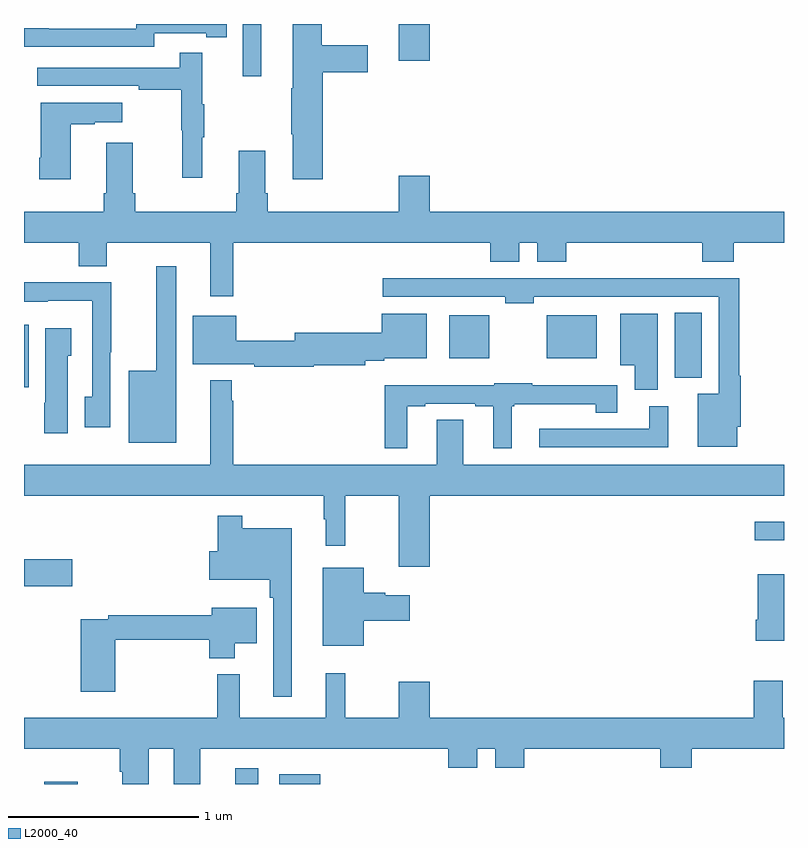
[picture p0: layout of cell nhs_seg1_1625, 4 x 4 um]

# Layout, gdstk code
import gdstk
lib = gdstk.Library(unit=1e-6, precision=1e-09)
def R(c, l, rs):  # rectangles x0, y0, x1, y1
    for r in rs: c.add(gdstk.rectangle(r[:2], r[2:], *l))
def P(c, l, *ps):  # polygons
    for p in ps: c.add(gdstk.Polygon(p, *l))
L2000_40 = (2000, 40)

nhs_seg1_1625 = lib.new_cell('nhs_seg1_1625')
R(nhs_seg1_1625, L2000_40, [(199.106,566.199,199.282,566.212), (200.111,566.199,200.233,566.281), (200.343,566.199,200.56,566.251), (199,567.239,199.255,567.381), (202.845,567.483,203,567.58), (199,568.287,199.024,568.615), (202.424,568.337,202.567,568.679), (201.239,568.439,201.448,568.666), (201.752,568.439,202.015,568.666), (200.151,569.925,200.248,570.199), (200.972,570.006,201.136,570.199)])
P(nhs_seg1_1625, L2000_40, [(200.573,569.945),(200.809,569.945),(200.809,570.087),(200.568,570.087),(200.568,570.199),(200.414,570.199),(200.414,569.861),(200.407,569.861),(200.407,569.62),(200.414,569.62),(200.414,569.382),(200.573,569.382)],
  [(199.686,570.15),(199.958,570.15),(199.958,570.13),(200.066,570.13),(200.066,570.199),(199.59,570.199),(199.59,570.174),(199.13,570.174),(199.13,570.176),(199,570.176),(199,570.078),(199.686,570.078)],
  [(199.937,569.603),(199.948,569.603),(199.948,569.777),(199.937,569.777),(199.937,570.049),(199.819,570.049),(199.819,569.97),(199.071,569.97),(199.071,569.874),(199.603,569.874),(199.603,569.854),(199.827,569.854),(199.827,569.64),(199.834,569.64),(199.834,569.391),(199.937,569.391)],
  [(199.246,569.671),(199.373,569.671),(199.373,569.681),(199.516,569.681),(199.516,569.785),(199.088,569.785),(199.088,569.494),(199.081,569.494),(199.081,569.382),(199.246,569.382)],
  [(200.101,569.048),(201.455,569.048),(201.455,568.949),(201.607,568.949),(201.607,569.048),(201.701,569.048),(201.701,568.949),(201.854,568.949),(201.854,569.048),(202.571,569.048),(202.571,568.949),(202.736,568.949),(202.736,569.048),(203,569.048),(203,569.212),(201.136,569.212),(201.136,569.401),(200.972,569.401),(200.972,569.212),(200.282,569.212),(200.282,569.308),(200.269,569.308),(200.269,569.533),(200.129,569.533),(200.129,569.308),(200.117,569.308),(200.117,569.212),(199.586,569.212),(199.586,569.308),(199.573,569.308),(199.573,569.575),(199.433,569.575),(199.433,569.308),(199.421,569.308),(199.421,569.212),(199,569.212),(199,569.048),(199.288,569.048),(199.288,568.924),(199.435,568.924),(199.435,569.048),(199.979,569.048),(199.979,568.767),(200.101,568.767)],
  [(199.801,568.924),(199.697,568.924),(199.697,568.375),(199.55,568.375),(199.55,567.995),(199.801,567.995)],
  [(202.753,568.078),(202.772,568.078),(202.772,568.348),(202.765,568.348),(202.765,568.86),(202.487,568.86),(202.487,568.862),(201.937,568.862),(201.937,568.86),(201.434,568.86),(201.434,568.862),(200.889,568.862),(200.889,568.764),(201.534,568.764),(201.534,568.729),(201.684,568.729),(201.684,568.764),(202.656,568.764),(202.656,568.252),(202.547,568.252),(202.547,567.974),(202.753,567.974)],
  [(199.455,568.471),(199.458,568.471),(199.458,568.839),(199.225,568.839),(199.225,568.841),(199,568.841),(199,568.736),(199.125,568.736),(199.125,568.742),(199.359,568.742),(199.359,568.238),(199.319,568.238),(199.319,568.077),(199.455,568.077)],
  [(200.524,568.403),(200.796,568.403),(200.796,568.427),(200.896,568.427),(200.896,568.439),(201.121,568.439),(201.121,568.675),(200.882,568.675),(200.882,568.575),(200.424,568.575),(200.424,568.532),(200.116,568.532),(200.116,568.663),(199.889,568.663),(199.889,568.409),(200.212,568.409),(200.212,568.396),(200.524,568.396)],
  [(202.336,568.675),(202.139,568.675),(202.139,568.403),(202.214,568.403),(202.214,568.273),(202.336,568.273)],
  [(199.231,568.452),(199.249,568.452),(199.249,568.597),(199.112,568.597),(199.112,568.206),(199.106,568.206),(199.106,568.044),(199.231,568.044)],
  [(201.136,567.716),(203,567.716),(203,567.88),(201.313,567.88),(201.313,568.115),(201.173,568.115),(201.173,567.88),(200.101,567.88),(200.101,568.217),(200.094,568.217),(200.094,568.324),(199.979,568.324),(199.979,567.88),(199,567.88),(199,567.716),(200.577,567.716),(200.577,567.593),(200.588,567.593),(200.588,567.453),(200.69,567.453),(200.69,567.716),(200.972,567.716),(200.972,567.342),(201.136,567.342)],
  [(201.016,568.188),(201.112,568.188),(201.112,568.2),(201.374,568.2),(201.374,568.188),(201.47,568.188),(201.47,567.965),(201.568,567.965),(201.568,568.188),(201.58,568.188),(201.58,568.199),(202.01,568.199),(202.01,568.153),(202.123,568.153),(202.123,568.297),(201.674,568.297),(201.674,568.309),(201.474,568.309),(201.474,568.297),(200.899,568.297),(200.899,567.965),(201.016,567.965)],
  [(202.39,568.188),(202.292,568.188),(202.292,568.068),(201.711,568.068),(201.711,567.972),(202.39,567.972)],
  [(200.41,567.544),(200.149,567.544),(200.149,567.61),(200.02,567.61),(200.02,567.423),(199.976,567.423),(199.976,567.275),(200.293,567.275),(200.293,567.179),(200.313,567.179),(200.313,566.658),(200.41,566.658)],
  [(200.788,567.059),(201.031,567.059),(201.031,567.193),(200.901,567.193),(200.901,567.206),(200.788,567.206),(200.788,567.337),(200.573,567.337),(200.573,566.927),(200.788,566.927)],
  [(203,567.304),(202.862,567.304),(202.862,567.064),(202.85,567.064),(202.85,566.952),(203,566.952)],
  [(199.481,566.958),(199.976,566.958),(199.976,566.861),(200.11,566.861),(200.11,566.939),(200.224,566.939),(200.224,567.127),(199.988,567.127),(199.988,567.086),(199.444,567.086),(199.444,567.066),(199.298,567.066),(199.298,566.685),(199.481,566.685)],
  [(199.657,566.384),(199.787,566.384),(199.787,566.199),(199.927,566.199),(199.927,566.384),(201.233,566.384),(201.233,566.285),(201.385,566.285),(201.385,566.384),(201.479,566.384),(201.479,566.285),(201.632,566.285),(201.632,566.384),(202.349,566.384),(202.349,566.285),(202.514,566.285),(202.514,566.384),(203,566.384),(203,566.548),(202.993,566.548),(202.993,566.743),(202.841,566.743),(202.841,566.548),(201.136,566.548),(201.136,566.737),(200.972,566.737),(200.972,566.548),(200.69,566.548),(200.69,566.782),(200.588,566.782),(200.588,566.548),(200.135,566.548),(200.135,566.776),(200.017,566.776),(200.017,566.548),(199,566.548),(199,566.384),(199.505,566.384),(199.505,566.264),(199.517,566.264),(199.517,566.199),(199.657,566.199)])

lib.write_gds('nhs_seg1_1625.gds')
